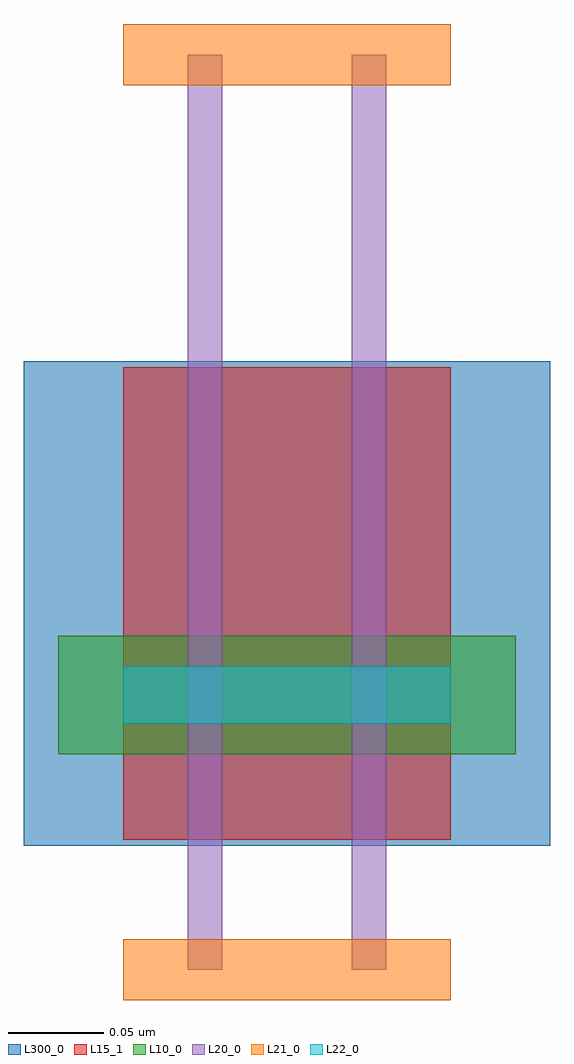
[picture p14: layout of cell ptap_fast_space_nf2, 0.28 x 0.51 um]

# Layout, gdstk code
import gdstk
lib = gdstk.Library(unit=1e-6, precision=5e-10)
def R(c, l, rs):  # rectangles x0, y0, x1, y1
    for r in rs: c.add(gdstk.rectangle(r[:2], r[2:], *l))
L10_0 = (10, 0)
L15_1 = (15, 1)
L20_0 = (20, 0)
L21_0 = (21, 0)
L22_0 = (22, 0)
L300_0 = (300, 0)

c__nmos4_fast_base_tap_bas = lib.new_cell('_nmos4_fast_base_tap_base3')
R(c__nmos4_fast_base_tap_bas, L10_0, [(0.224,0.113,0.378,0.175)])
R(c__nmos4_fast_base_tap_bas, L15_1, [(0.258,0.068,0.344,0.316)])
R(c__nmos4_fast_base_tap_bas, L20_0, [(0.292,0,0.31,0.48)])
R(c__nmos4_fast_base_tap_bas, L21_0, [(0.258,-0.016,0.344,0.016), (0.258,0.464,0.344,0.496)])
R(c__nmos4_fast_base_tap_bas, L22_0, [(0.258,0.129,0.344,0.159)])
R(c__nmos4_fast_base_tap_bas, L300_0, [(0.206,0.065,0.396,0.319)])

ptap_fast_space_nf2 = lib.new_cell('ptap_fast_space_nf2')
ptap_fast_space_nf2.add(gdstk.Reference(c__nmos4_fast_base_tap_bas, (-0.258,0)))
ptap_fast_space_nf2.add(gdstk.Reference(c__nmos4_fast_base_tap_bas, (-0.172,0)))

lib.write_gds('ptap_fast_space_nf2.gds')
